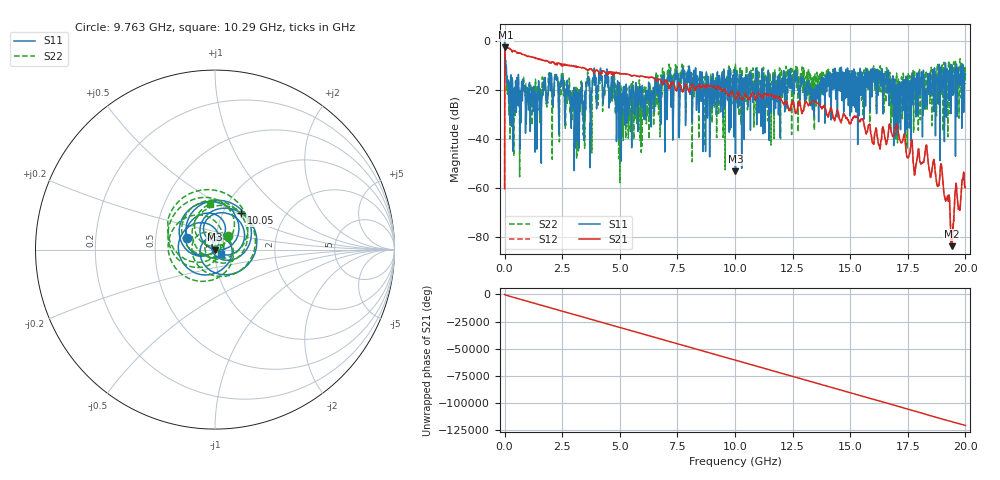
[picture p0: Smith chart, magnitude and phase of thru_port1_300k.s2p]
! MS46122B
! 2250307/22442219
! 2/13/2026 1:35:26 PM
! C:\USERS\SPARKY\DOCUMENTS\VNA_DATA\FEB13_2026\THRU_PORT1_300K.S2P
! CHANNEL.1
! TR.MEASUREMENT
! RAW.DATA
# GHZ S RI R 50.0
! FREQ.GHZ  S11RE  S11IM  S21RE  S21IM  S12RE  S12IM  S22RE  S22IM
!; PortSelection: Port_12
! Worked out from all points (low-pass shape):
!   10001 points, 1 MHz to 20 GHz, reference 50 ohm
!   highest |S21| = -2.34 dB at 33 MHz (marker M1); lowest = -83.9 dB at 19.4 GHz (marker M2)
!   |S21| within 3 dB of the highest: 19.08 MHz to 783.8 MHz (764.7 MHz wide, 190 % of centre); 799.1 MHz to 826.5 MHz (27.4 MHz wide, 3.37 % of centre) (the widest 2 of 3)
!   lowest |S11| = -53.2 dB at 10.02 GHz (marker M3), VSWR 1.00, Z = 49.8 - j0.0074 ohm
!   |S11| at or under -10 dB: 73.27 MHz to 18.85 GHz (18.77 GHz wide, 198 % of centre); 19.15 GHz to 19.4 GHz (252.2 MHz wide, 1.31 % of centre); 19.62 GHz to 19.87 GHz (253.1 MHz wide, 1.28 % of centre) (the widest 3 of 7)
!   |S22| runs from -57.8 to -0.1 dB; largest |S21 - S12| = 0.056
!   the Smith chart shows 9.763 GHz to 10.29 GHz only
!   S11 on the Smith chart (normalised r, x): 9.763 GHz: 0.73, +0.09; 10.05 GHz: 1.22, +0.53; 10.29 GHz: 1.07, -0.05
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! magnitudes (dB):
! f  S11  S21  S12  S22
! 1 MHz  0.4  -60.4  -60.4  -0.1
! 33 MHz  -8.3  -2.3  -2.6  -11.8
! 125 MHz  -16.3  -2.5  -2.5  -21.4
! 1.329 GHz  -25.0  -6.7  -6.6  -17.9
! 2.229 GHz  -13.5  -9.5  -9.5  -14.6
! 3.335 GHz  -18.8  -10.7  -10.8  -17.0
! 4.145 GHz  -12.7  -13.1  -13.2  -13.7
! 5.179 GHz  -19.2  -13.2  -13.2  -31.2
! 6.669 GHz  -19.0  -15.5  -15.5  -22.0
! 9.763 GHz  -15.6  -21.8  -21.6  -19.7
! 10 GHz  -12.9  -23.2  -23.3  -10.2
! 10.02 GHz  -53.2  -23.6  -23.0  -9.8
! 10.05 GHz  -12.0  -22.8  -23.0  -25.7
! 10.29 GHz  -27.7  -23.7  -23.5  -11.8
! 13.33 GHz  -19.3  -24.8  -24.6  -15.7
! 16.67 GHz  -13.3  -36.0  -36.1  -13.8
! 17.09 GHz  -37.0  -37.0  -37.2  -15.6
! 17.81 GHz  -15.4  -53.3  -53.4  -16.4
! 18.29 GHz  -21.2  -42.7  -42.8  -12.0
! 18.95 GHz  -11.9  -50.5  -50.3  -20.5
! 19.4 GHz  -9.7  -83.9  -83.6  -15.5
! 20 GHz  -13.4  -60.0  -60.5  -17.5
